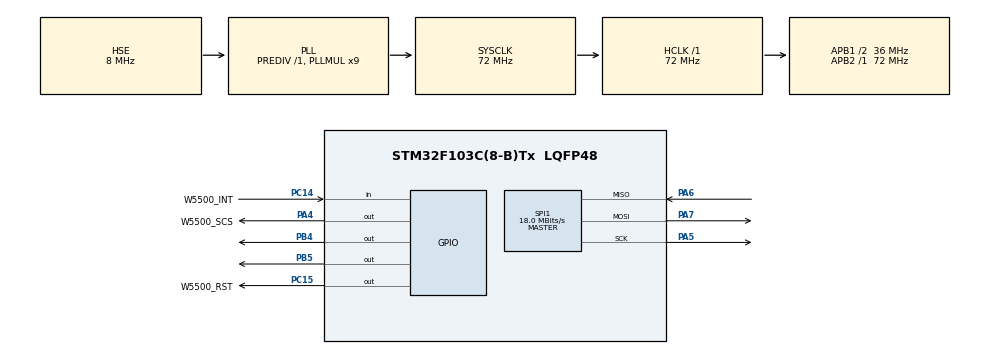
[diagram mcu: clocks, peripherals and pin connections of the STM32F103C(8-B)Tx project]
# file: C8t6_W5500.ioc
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Mcu.Family=STM32F1
Mcu.Name=STM32F103C(8-B)Tx
Mcu.Package=LQFP48
NVIC.PriorityGroup=NVIC_PRIORITYGROUP_4
PA13.Mode=Serial_Wire
PA13.Signal=SYS_JTMS-SWDIO
PA14.Mode=Serial_Wire
PA14.Signal=SYS_JTCK-SWCLK
PA4.GPIO_Label=W5500_SCS
PA4.GPIO_PuPd=GPIO_PULLDOWN
PA4.GPIO_Speed=GPIO_SPEED_FREQ_HIGH
PA4.Signal=GPIO_Output
PA5.Mode=Full_Duplex_Master
PA5.Signal=SPI1_SCK
PA6.Mode=Full_Duplex_Master
PA6.Signal=SPI1_MISO
PA7.Mode=Full_Duplex_Master
PA7.Signal=SPI1_MOSI
PB4.Signal=GPIO_Output
PB5.Signal=GPIO_Output
PC14-OSC32_IN.GPIO_Label=W5500_INT
PC14-OSC32_IN.GPIO_PuPd=GPIO_PULLUP
PC14-OSC32_IN.Signal=GPIO_Input
PC15-OSC32_OUT.GPIO_Label=W5500_RST
PC15-OSC32_OUT.GPIO_PuPd=GPIO_PULLUP
PC15-OSC32_OUT.Signal=GPIO_Output
PD0-OSC_IN.Mode=HSE-External-Oscillator
PD0-OSC_IN.Signal=RCC_OSC_IN
PD1-OSC_OUT.Mode=HSE-External-Oscillator
PD1-OSC_OUT.Signal=RCC_OSC_OUT
ProjectManager.HeapSize=0x200
ProjectManager.StackSize=0x400
ProjectManager.TargetToolchain=MDK-ARM V5.32
RCC.AHBFreq_Value=72000000
RCC.APB1CLKDivider=RCC_HCLK_DIV2
RCC.APB1Freq_Value=36000000
RCC.APB1TimFreq_Value=72000000
RCC.APB2Freq_Value=72000000
RCC.APB2TimFreq_Value=72000000
RCC.HCLKFreq_Value=72000000
RCC.PLLMUL=RCC_PLL_MUL9
RCC.PLLSourceVirtual=RCC_PLLSOURCE_HSE
RCC.SYSCLKFreq_VALUE=72000000
RCC.SYSCLKSource=RCC_SYSCLKSOURCE_PLLCLK
RCC.USBFreq_Value=72000000
SPI1.BaudRatePrescaler=SPI_BAUDRATEPRESCALER_4
SPI1.CalculateBaudRate=18.0 MBits/s
SPI1.Direction=SPI_DIRECTION_2LINES
SPI1.Mode=SPI_MODE_MASTER
SPI1.VirtualType=VM_MASTER
board=custom

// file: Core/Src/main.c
/* USER CODE BEGIN Header */
/**
  ******************************************************************************
  * @file           : main.c
  * @brief          : Main program body
  ******************************************************************************
  * @attention
  *
  * Copyright (c) 2024 STMicroelectronics.
  * All rights reserved.
  *
  * This software is licensed under terms that can be found in the LICENSE file
  * in the root directory of this software component.
  * If no LICENSE file comes with this software, it is provided AS-IS.
  *
  ******************************************************************************
  */
/* USER CODE END Header */
#include "main.h"
#include "spi.h"
#include "gpio.h"

/* USER CODE BEGIN Includes */
#include "DHCP.h"
#include "w5500_spi.h"
#include "socket.h"
#include "loopback.h"
#include <string.h>  // memcmp
/* USER CODE END Includes */

/* USER CODE BEGIN PTD */
/* USER CODE BEGIN PTD */
uint8_t dest_ip[4] = {10, 1, 1, 144};//远程主机地址
uint16_t dest_port = 	5000;//远程主机接口

#define SOCK_TCPC       0
#define SOCK_TCPS       1
#define SOCK_DHCP       2

#define MY_MAX_DHCP_RETRY	3
#define DATA_BUF_SIZE   2048

uint8_t gDATABUF[DATA_BUF_SIZE];
uint8_t my_dhcp_retry = 0;

#define LISTEN_PORT 5000 //本地主机端口
#define RECEIVE_BUFF_SIZE 128

#define SOCK_TCPC        0
#define SOCK_TCPS        1

#define DATA_BUF_SIZE   2048

// Initialize Network information and display it
void network_init(void);
// Loopback TCP server
int32_t loopback_tcps(uint8_t, uint8_t*, uint16_t);

uint8_t gDATABUF[DATA_BUF_SIZE];

wiz_NetInfo gWIZNETINFO = { .mac = {0x00, 0x08, 0xdc,0x00, 0xab, 0xcd},
                            .ip = {10, 1, 1, 200},
                            .sn = {255,255,255,0},
                            .gw = {10, 1, 1, 1},
                            .dns = {8,8,8,8},
                            .dhcp = NETINFO_STATIC};
uint8_t receive_buff[RECEIVE_BUFF_SIZE];
/* USER CODE END PTD */

//static void PHYStatusCheck(void);
//static void PrintPHYConf(void);
	void network_init(void);
	void my_ip_conflict(void);
	void my_ip_assign(void);
	void dhcp_test(void);
	int32_t loopback_tcps(uint8_t sn, uint8_t* buf, uint16_t port);
/* USER CODE END PTD */

void SystemClock_Config(void);

int main(void)
{

  /* MCU Configuration--------------------------------------------------------*/

  /* Reset of all peripherals, Initializes the Flash interface and the Systick. */
  HAL_Init();

  /* Configure the system clock */
  SystemClock_Config();

  /* Initialize all configured peripherals */
  MX_GPIO_Init();
  MX_SPI1_Init();
  /* USER CODE BEGIN 2 */
 //printf("A simple TCP Server Application using W5500!\r\n");
  W5500Init();                                     //W5500初始化
 /* USER CODE BEGIN 2 */
  //printf("A simple TCP Client Application using W5500!\r\n");
  ctlnetwork(CN_SET_NETINFO, (void*)&gWIZNETINFO); //配置网络参数

  wiz_PhyConf phyconf;
  phyconf.by = PHY_CONFBY_SW;
  phyconf.duplex = PHY_DUPLEX_FULL;
  phyconf.speed = PHY_SPEED_10;
  phyconf.mode = PHY_MODE_AUTONEGO;
  ctlwizchip(CW_SET_PHYCONF, (void*)&phyconf);     //配置PHY参数

  /* Network initialization */
	network_init();

    while(1)
    {
			//int32_t ret;
		/* Loopback Test */
		// TCP server loopback test
		//TCP客户端回环测试
		loopback_tcpc(SOCK_TCPS, gDATABUF, dest_ip, dest_port);
}
}
  /* USER CODE END 2 */

  /* USER CODE END 2 */

  /* Infinite loop */
  /* USER CODE BEGIN WHILE */
  // must be set the default mac before DHCP started.
  /* USER CODE END 3 */

void SystemClock_Config(void)
{
  RCC_OscInitTypeDef RCC_OscInitStruct = {0};
  RCC_ClkInitTypeDef RCC_ClkInitStruct = {0};

  /** Initializes the RCC Oscillators according to the specified parameters
  * in the RCC_OscInitTypeDef structure.
  */
  RCC_OscInitStruct.OscillatorType = RCC_OSCILLATORTYPE_HSE;
  RCC_OscInitStruct.HSEState = RCC_HSE_ON;
  RCC_OscInitStruct.HSEPredivValue = RCC_HSE_PREDIV_DIV1;
  RCC_OscInitStruct.HSIState = RCC_HSI_ON;
  RCC_OscInitStruct.PLL.PLLState = RCC_PLL_ON;
  RCC_OscInitStruct.PLL.PLLSource = RCC_PLLSOURCE_HSE;
  RCC_OscInitStruct.PLL.PLLMUL = RCC_PLL_MUL9;
  if (HAL_RCC_OscConfig(&RCC_OscInitStruct) != HAL_OK)
  {
    Error_Handler();
  }

  /** Initializes the CPU, AHB and APB buses clocks
  */
  RCC_ClkInitStruct.ClockType = RCC_CLOCKTYPE_HCLK|RCC_CLOCKTYPE_SYSCLK
                              |RCC_CLOCKTYPE_PCLK1|RCC_CLOCKTYPE_PCLK2;
  RCC_ClkInitStruct.SYSCLKSource = RCC_SYSCLKSOURCE_PLLCLK;
  RCC_ClkInitStruct.AHBCLKDivider = RCC_SYSCLK_DIV1;
  RCC_ClkInitStruct.APB1CLKDivider = RCC_HCLK_DIV2;
  RCC_ClkInitStruct.APB2CLKDivider = RCC_HCLK_DIV1;

  if (HAL_RCC_ClockConfig(&RCC_ClkInitStruct, FLASH_LATENCY_2) != HAL_OK)
  {
    Error_Handler();
  }
}

/* USER CODE BEGIN 4 */
//网络初始化（DHCP）
void network_init(void)
{
	uint8_t tmpstr[6] = {0,};
	wiz_NetInfo netinfo;

	// Set Network information from netinfo structure
	ctlnetwork(CN_SET_NETINFO, (void*)&gWIZNETINFO);

	// Get Network information
	ctlnetwork(CN_GET_NETINFO, (void*)&netinfo);

	// Display Network Information
	ctlwizchip(CW_GET_ID,(void*)tmpstr);

//	if(netinfo.dhcp == NETINFO_DHCP) printf("\r\n=== %s NET CONF : DHCP ===\r\n",(char*)tmpstr);
//	else printf("\r\n=== %s NET CONF : Static ===\r\n",(char*)tmpstr);
//
//	printf("MAC: %02X:%02X:%02X:%02X:%02X:%02X\r\n",netinfo.mac[0],netinfo.mac[1],netinfo.mac[2],
//			netinfo.mac[3],netinfo.mac[4],netinfo.mac[5]);
//	printf("SIP: %d.%d.%d.%d\r\n", netinfo.ip[0],netinfo.ip[1],netinfo.ip[2],netinfo.ip[3]);
//	printf("GAR: %d.%d.%d.%d\r\n", netinfo.gw[0],netinfo.gw[1],netinfo.gw[2],netinfo.gw[3]);
//	printf("SUB: %d.%d.%d.%d\r\n", netinfo.sn[0],netinfo.sn[1],netinfo.sn[2],netinfo.sn[3]);
//	printf("DNS: %d.%d.%d.%d\r\n", netinfo.dns[0],netinfo.dns[1],netinfo.dns[2],netinfo.dns[3]);
//	printf("===========================\r\n");

}

/**
  * @brief  Loopback Test Example Code using ioLibrary_BSD
  * @retval None
  */
int32_t loopback_tcps(uint8_t sn, uint8_t* buf, uint16_t port)
{
   int32_t ret;
   uint16_t size = 0, sentsize=0;
   switch(getSn_SR(sn))
   {
      case SOCK_ESTABLISHED :
         if(getSn_IR(sn) & Sn_IR_CON)
         {
            //printf("%d:Connected\r\n",sn);
            setSn_IR(sn,Sn_IR_CON);
         }
         if((size = getSn_RX_RSR(sn)) > 0)
         {
            if(size > DATA_BUF_SIZE)
							size = DATA_BUF_SIZE;

            ret = recv(sn,buf,size);

            if(ret <= 0)
				return ret;

            sentsize = 0;

            while(size != sentsize)
            {
               ret = send(sn,buf+sentsize,size-sentsize);

			  // printf("%s\r\n",buf);

               if(ret < 0)
               {
                  close(sn);
                  return ret;
               }
               sentsize += ret; // Don't care SOCKERR_BUSY, because it is zero.
            }
         }
         break;
      case SOCK_CLOSE_WAIT :
         //printf("%d:CloseWait\r\n",sn);
         if((ret=disconnect(sn)) != SOCK_OK) return ret;
         //printf("%d:Closed\r\n",sn);
         break;
      case SOCK_INIT :
    	  //printf("%d:Listen, port [%d]\r\n",sn, port);
         if( (ret = listen(sn)) != SOCK_OK) return ret;
         break;
      case SOCK_CLOSED:
         //printf("%d:LBTStart\r\n",sn);
         if((ret=socket(sn,Sn_MR_TCP,port,0x00)) != sn)
            return ret;
         //printf("%d:Opened\r\n",sn);
         break;
      default:
         break;
   }
   return 1;
}

/**
  * @brief  TCP客户端事件处理函数
  */
int32_t loopback_tcpc(uint8_t sn, uint8_t* buf, uint8_t* destip, uint16_t destport)
{
   int32_t ret; // return value for SOCK_ERRORs
   uint16_t size = 0, sentsize=0;

   // Port number for TCP client (will be increased)
   uint16_t any_port = 	5000;

   // Socket Status Transitions
   // Check the W5500 Socket n status register (Sn_SR, The 'Sn_SR' controlled by Sn_CR command or Packet send/recv status)
   switch(getSn_SR(sn))
   {
      case SOCK_ESTABLISHED :
         if(getSn_IR(sn) & Sn_IR_CON)	// Socket n interrupt register mask; TCP CON interrupt = connection with peer is successful
         {
#ifdef _LOOPBACK_DEBUG_
			//printf("%d:Connected to - %d.%d.%d.%d : %d\r\n",sn, destip[0], destip[1], destip[2], destip[3], destport);
#endif
			setSn_IR(sn, Sn_IR_CON);  // this interrupt should be write the bit cleared to '1'
         }

         //
         // Data Transaction Parts; Handle the [data receive and send] process
         //
		 if((size = getSn_RX_RSR(sn)) > 0) // Sn_RX_RSR: Socket n Received Size Register, Receiving data length
         {
			if(size > DATA_BUF_SIZE) size = DATA_BUF_SIZE; // DATA_BUF_SIZE means user defined buffer size (array)
			ret = recv(sn, buf, size); // Data Receive process (H/W Rx socket buffer -> User's buffer)

			if(ret <= 0) return ret; // If the received data length <= 0, receive failed and process end
			size = (uint16_t) ret;
			sentsize = 0;

			// Data sentsize control
			while(size != sentsize)
			{
				ret = send(sn, buf+sentsize, size-sentsize); // Data send process (User's buffer -> Destination through H/W Tx socket buffer)

				//printf("%s\r\n",buf);

				if(ret < 0) // Send Error occurred (sent data length < 0)
				{
					close(sn); // socket close
					return ret;
				}
				sentsize += ret; // Don't care SOCKERR_BUSY, because it is zero.
			}
         }
		 //
         break;

      case SOCK_CLOSE_WAIT :
#ifdef _LOOPBACK_DEBUG_
         //printf("%d:CloseWait\r\n",sn);
#endif
         if((ret=disconnect(sn)) != SOCK_OK) return ret;
#ifdef _LOOPBACK_DEBUG_
        // printf("%d:Socket Closed\r\n", sn);
#endif
         break;

      case SOCK_INIT :
#ifdef _LOOPBACK_DEBUG_
    	 //printf("%d:Try to connect to the %d.%d.%d.%d : %d\r\n", sn, destip[0], destip[1], destip[2], destip[3], destport);
#endif
    	 if( (ret = connect(sn, destip, destport)) != SOCK_OK) return ret;	//	Try to TCP connect to the TCP server (destination)
         break;

      case SOCK_CLOSED:
    	  close(sn);
    	  if((ret=socket(sn, Sn_MR_TCP, any_port++, SF_TCP_NODELAY)) != sn) return ret; // TCP socket open with 'any_port' port number
#ifdef _LOOPBACK_DEBUG_
    	 //printf("%d:TCP client loopback start\r\n",sn);
         //printf("%d:Socket opened\r\n",sn);
#endif
         break;
      default:
			{
         break;
			}
   }
   return 1;
}
/* USER CODE END 4 */

void Error_Handler(void)
{
  __disable_irq();
  while (1)
  {
  }
}
